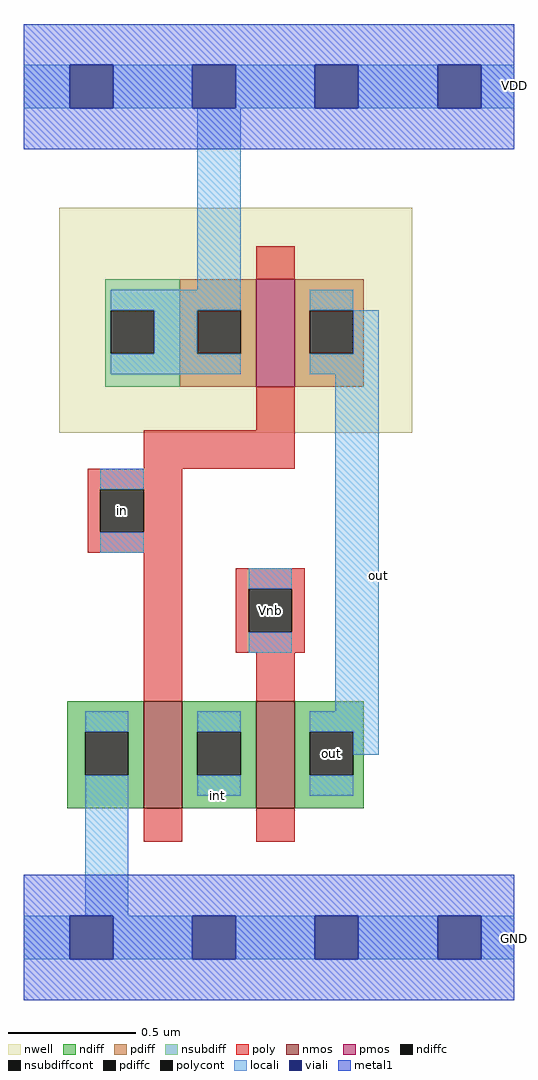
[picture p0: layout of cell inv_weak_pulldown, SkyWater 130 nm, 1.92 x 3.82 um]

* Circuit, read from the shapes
.subckt inv_weak_pulldown GND VDD Vnb in int out
XM1 int in GND VSUBS sky130_fd_pr__nfet_01v8 w=0.42 l=0.15
XM2 out Vnb int VSUBS sky130_fd_pr__nfet_01v8 w=0.42 l=0.15
XM3 out in VDD VDD sky130_fd_pr__pfet_01v8 w=0.42 l=0.15
.ends

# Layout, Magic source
magic
tech sky130A
<< nwell >>
rect 91 222 229 310
<< nmos >>
rect 124 75 139 117
rect 168 75 183 117
<< pmos >>
rect 168 240 183 282
<< ndiff >>
rect 94 105 124 117
rect 94 88 101 105
rect 118 88 124 105
rect 94 75 124 88
rect 139 105 168 117
rect 139 88 145 105
rect 162 88 168 105
rect 139 75 168 88
rect 183 105 210 117
rect 183 88 189 105
rect 206 88 210 105
rect 183 75 210 88
<< pdiff >>
rect 138 270 168 282
rect 138 253 145 270
rect 162 253 168 270
rect 138 240 168 253
rect 183 270 210 282
rect 183 253 189 270
rect 206 253 210 270
rect 183 240 210 253
<< ndiffc >>
rect 101 88 118 105
rect 145 88 162 105
rect 189 88 206 105
<< pdiffc >>
rect 145 253 162 270
rect 189 253 206 270
<< nsubdiff >>
rect 109 270 138 282
rect 109 253 111 270
rect 128 253 138 270
rect 109 240 138 253
<< nsubdiffcont >>
rect 111 253 128 270
<< poly >>
rect 168 282 183 295
rect 168 223 183 240
rect 124 208 183 223
rect 102 200 139 208
rect 102 183 107 200
rect 124 183 139 200
rect 102 175 139 183
rect 124 117 139 175
rect 160 161 187 169
rect 160 144 165 161
rect 182 144 187 161
rect 160 136 187 144
rect 168 117 183 136
rect 124 62 139 75
rect 168 62 183 75
<< polycont >>
rect 107 183 124 200
rect 165 144 182 161
<< locali >>
rect 77 349 95 366
rect 112 349 143 366
rect 160 349 191 366
rect 208 349 239 366
rect 256 349 269 366
rect 145 278 162 349
rect 111 270 162 278
rect 128 253 145 270
rect 111 245 162 253
rect 189 270 206 278
rect 206 253 216 270
rect 189 245 216 253
rect 107 200 124 208
rect 107 175 124 183
rect 165 161 182 169
rect 165 136 182 144
rect 199 113 216 245
rect 101 105 118 113
rect 101 33 118 88
rect 145 105 162 113
rect 145 80 162 88
rect 189 105 216 113
rect 206 96 216 105
rect 189 80 206 88
rect 77 16 95 33
rect 112 16 143 33
rect 160 16 191 33
rect 208 16 239 33
rect 256 16 269 33
<< viali >>
rect 95 349 112 366
rect 143 349 160 366
rect 191 349 208 366
rect 239 349 256 366
rect 95 16 112 33
rect 143 16 160 33
rect 191 16 208 33
rect 239 16 256 33
<< metal1 >>
rect 77 366 269 382
rect 77 349 95 366
rect 112 349 143 366
rect 160 349 191 366
rect 208 349 239 366
rect 256 349 269 366
rect 77 333 269 349
rect 77 33 269 49
rect 77 16 95 33
rect 112 16 143 33
rect 160 16 191 33
rect 208 16 239 33
rect 256 16 269 33
rect 77 0 269 16
<< labels >>
rlabel locali 269 358 269 358 3 VDD
rlabel locali 269 24 269 24 3 GND
rlabel locali 216 166 216 166 3 out
flabel ndiffc 189 88 206 105 0 FreeSans 80 0 0 0 out
rlabel locali 153 80 153 80 5 int
flabel polycont 165 144 182 161 0 FreeSans 80 0 0 0 Vnb
flabel polycont 107 183 124 200 0 FreeSans 80 0 0 0 in
<< end >>
